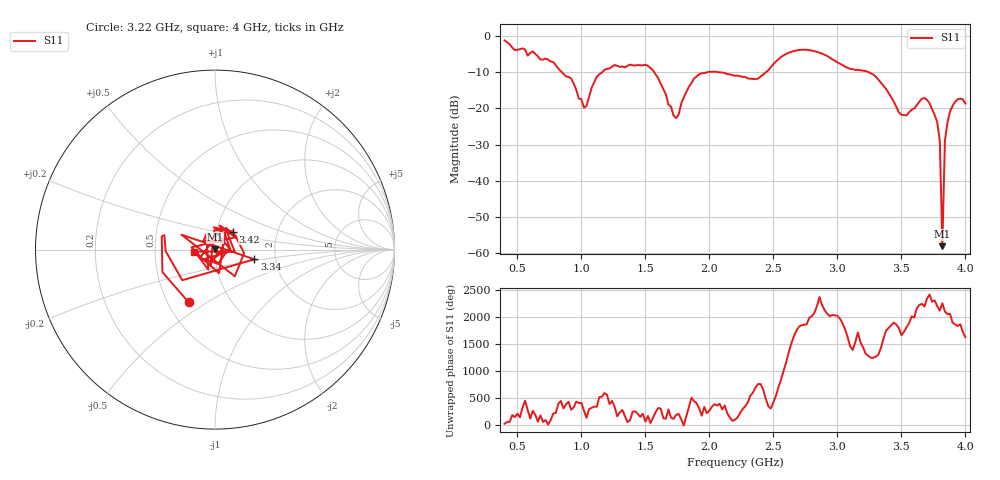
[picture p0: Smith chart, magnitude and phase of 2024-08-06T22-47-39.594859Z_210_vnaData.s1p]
!Created with skrf (http://scikit-rf.org).
# Hz S RI R 50.0
!freq ReS11 ImS11
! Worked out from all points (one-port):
!   181 points, 400 MHz to 4 GHz, reference 50 ohm
!   lowest |S11| = -58.1 dB at 3.82 GHz (marker M1), VSWR 1.00, Z = 50 + j0.124 ohm
!   |S11| at or under -10 dB: 1.569 GHz to 1.985 GHz (416.1 MHz wide, 23.4 % of centre); 2.071 GHz to 2.442 GHz (370.6 MHz wide, 16.4 % of centre); 3.244 GHz to end of sweep (the widest 3 of 4)
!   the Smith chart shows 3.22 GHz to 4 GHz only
!   S11 on the Smith chart (normalised r, x): 3.22 GHz: 0.64, -0.42; 3.34 GHz: 1.55, -0.18; 3.42 GHz: 1.20, +0.25; 4 GHz: 0.79, -0.02
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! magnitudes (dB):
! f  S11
! 400 MHz  -1.2
! 860 MHz  -10.5
! 920 MHz  -11.8
! 1.02 GHz  -19.8
! 1.12 GHz  -11.3
! 1.3 GHz  -8.5
! 1.52 GHz  -8.3
! 1.72 GHz  -22.0
! 1.76 GHz  -21.7
! 1.84 GHz  -14.0
! 1.92 GHz  -10.6
! 2.2 GHz  -11.0
! 2.38 GHz  -11.8
! 2.66 GHz  -4.1
! 3.1 GHz  -9.1
! 3.22 GHz  -9.7
! 3.34 GHz  -12.9
! 3.42 GHz  -16.9
! 3.5 GHz  -21.7
! 3.56 GHz  -21.1
! 3.68 GHz  -17.2
! 3.78 GHz  -23.8
! 3.8 GHz  -29.0
! 3.82 GHz  -58.1
! 3.84 GHz  -28.9
! 3.86 GHz  -24.0
! 3.92 GHz  -18.2
! 4 GHz  -18.7
